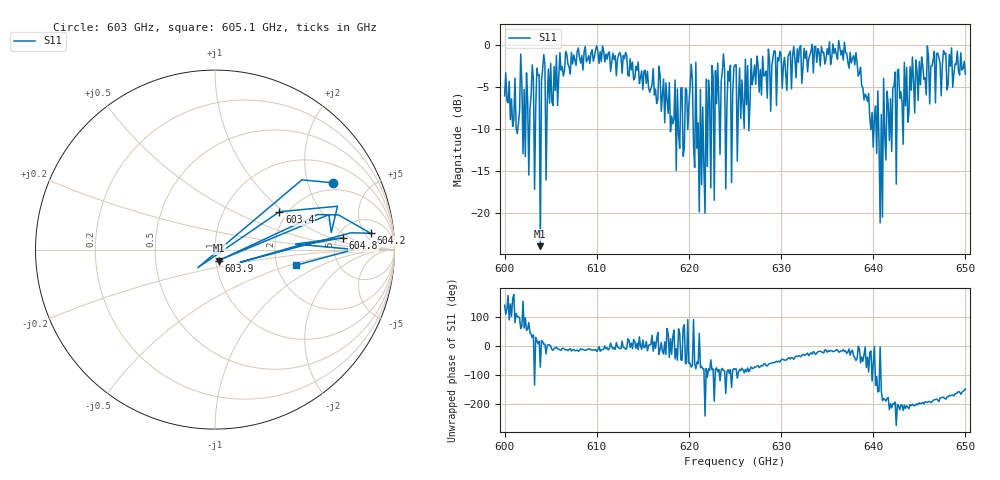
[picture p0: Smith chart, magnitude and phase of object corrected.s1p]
!Created with skrf (http://scikit-rf.org).
# GHz S MA R 50.0
!freq magS11 angS11
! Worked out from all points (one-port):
!   401 points, 600 GHz to 650 GHz, reference 50 ohm
!   lowest |S11| = -23.9 dB at 603.9 GHz (marker M1), VSWR 1.14, Z = 51.6 - j6.31 ohm
!   |S11| at or under -10 dB: 618.8601 GHz to 619.0402 GHz (180 MHz wide, 0.0291 % of centre); 619.3254 GHz to 619.5406 GHz (215.1 MHz wide, 0.0347 % of centre); 620.4686 GHz to 620.6708 GHz (202.2 MHz wide, 0.0326 % of centre) (the widest 3 of 35)
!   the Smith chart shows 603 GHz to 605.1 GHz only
!   S11 on the Smith chart (normalised r, x): 603 GHz: 1.68, +2.93; 603.4 GHz: 1.82, +0.93; 603.9 GHz: 1.03, -0.13; 604.2 GHz: 9, +7; 604.8 GHz: 5.63, +1.52; 605.1 GHz: 2.55, -0.57
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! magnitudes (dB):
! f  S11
! 600 GHz  -6.1
! 601.1 GHz  -4.0
! 603 GHz  -2.4
! 603.4 GHz  -7.6
! 603.9 GHz  -23.9
! 604.2 GHz  -1.2
! 604.8 GHz  -2.9
! 605.1 GHz  -6.8
! 606.2 GHz  -2.6
! 612.5 GHz  -0.9
! 617 GHz  -7.9
! 618.8 GHz  -5.2
! 619.6 GHz  -5.2
! 620.1 GHz  -5.0
! 621.5 GHz  -7.4
! 622.4 GHz  -17.0
! 622.5 GHz  -2.5
! 623.6 GHz  -3.1
! 625 GHz  -2.4
! 625.5 GHz  -2.8
! 631.2 GHz  -1.3
! 637.5 GHz  -0.9
! 640.4 GHz  -12.9
! 640.8 GHz  -21.1
! 641.4 GHz  -13.7
! 643.8 GHz  -9.2
! 645.2 GHz  -1.5
! 650 GHz  -3.5
